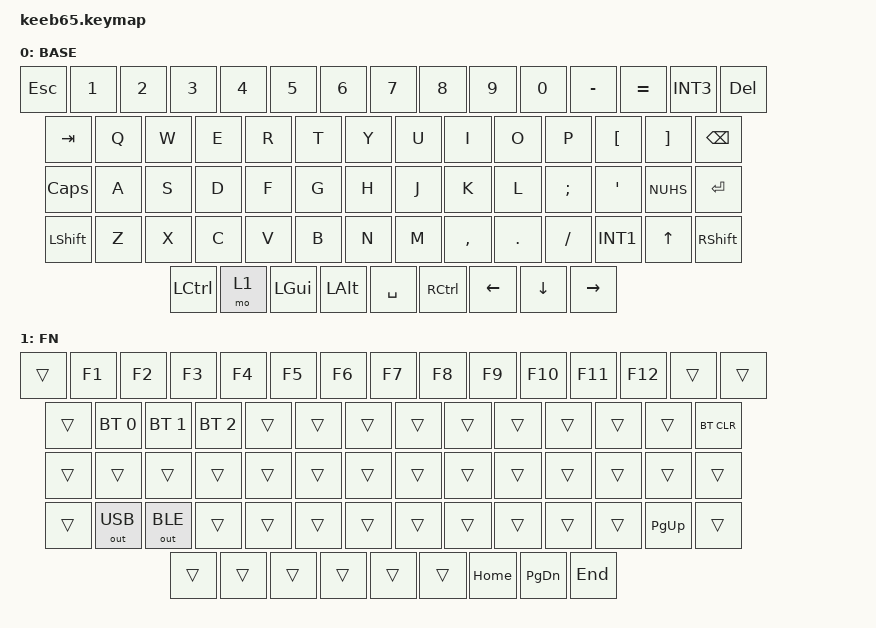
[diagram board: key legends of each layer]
#include <behaviors.dtsi>
#include <dt-bindings/zmk/keys.h>
#include <dt-bindings/zmk/bt.h>
#include <dt-bindings/zmk/outputs.h>

/ {
    keymap {
        compatible = "zmk,keymap";

        default_layer {
            display-name = "BASE";
            bindings = <
                // R0: Esc 1 2 3 4 5 6 7 8 9 0 - ^ \ Del
                &kp ESC &kp N1 &kp N2 &kp N3 &kp N4 &kp N5 &kp N6 &kp N7 &kp N8 &kp N9 &kp N0 &kp MINUS &kp EQUAL &kp INT3 &kp DEL
                // R1: Tab Q W E R T Y U I O P @ [ Back
                &kp TAB &kp Q &kp W &kp E &kp R &kp T &kp Y &kp U &kp I &kp O &kp P &kp LBKT &kp RBKT &kp BSPC
                // R2: Caps A S D F G H J K L ; : ] Enter
                &kp CAPS &kp A &kp S &kp D &kp F &kp G &kp H &kp J &kp K &kp L &kp SEMI &kp QUOT &kp NUHS &kp RET
                // R3: LShift Z X C V B N M , . / _ Up RShift
                &kp LSHFT &kp Z &kp X &kp C &kp V &kp B &kp N &kp M &kp COMMA &kp DOT &kp FSLH &kp INT1 &kp UP &kp RSHFT
                // R4: LCtrl Fn Win LAlt Space RCtrl Left Down Right
                &kp LCTRL &mo 1 &kp LGUI &kp LALT &kp SPACE &kp RCTRL &kp LEFT &kp DOWN &kp RIGHT
            >;
        };

        fn_layer {
            display-name = "FN";
            // 数字->F1-F12 / 矢印->PgUp,Home,PgDn,End
            // Q,W,E->BT0,1,2  Back->BT_CLR  Z->USB出力  X->BLE出力
            bindings = <
                // R0: Esc 1 2 3 4 5 6 7 8 9 0 - ^ \ Del
                &trans &kp F1 &kp F2 &kp F3 &kp F4 &kp F5 &kp F6 &kp F7 &kp F8 &kp F9 &kp F10 &kp F11 &kp F12 &trans &trans
                // R1: Tab Q W E R T Y U I O P @ [ Back
                &trans &bt BT_SEL 0 &bt BT_SEL 1 &bt BT_SEL 2 &trans &trans &trans &trans &trans &trans &trans &trans &trans &bt BT_CLR
                // R2: Caps A S D F G H J K L ; : ] Enter
                &trans &trans &trans &trans &trans &trans &trans &trans &trans &trans &trans &trans &trans &trans
                // R3: LShift Z X C V B N M , . / _ Up RShift
                &trans &out OUT_USB &out OUT_BLE &trans &trans &trans &trans &trans &trans &trans &trans &trans &kp PG_UP &trans
                // R4: LCtrl Fn Win LAlt Space RCtrl Left Down Right
                &trans &trans &trans &trans &trans &trans &kp HOME &kp PG_DN &kp END
            >;
        };
    };
};
